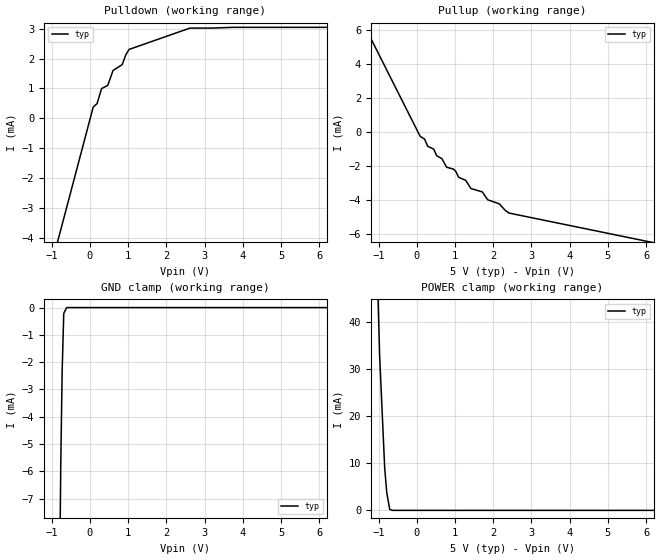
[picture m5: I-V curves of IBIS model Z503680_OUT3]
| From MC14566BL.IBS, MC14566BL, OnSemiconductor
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| (C) COPYRIGHT 1993-2000
| MENTOR GRAPHICS CORPORATION
| ICX STANDARD LIBRARY, ICX PROJECT MODELING,
| ICX CUSTOM MODELING, ICX VENDOR MODEL
| ALL RIGHTS RESERVED.
| THE FOLLOWING ARE TRADEMARKS OR SERVICE MARKS OF
| MENTOR GRAPHICS CORPORATION:ICX (R), ICX STANDARD
| LIBRARY(R), ICX PROJECT MODELING(R), ICX CUSTOM
| MODELING(R), qualityIBIS(TM), MODELVIEWER(TM),
| AND MODELEDITOR(TM)
| ALL COPIES OF SOFTWARE, INCLUDING BUT NOT LIMITED TO
| ANY MODIFICATIONS, ENHANCEMENTS OR DERIVATIVE WORKS,
| MUST CONTAIN ALL MENTOR GRAPHICS CORPORATION'S
| NOTICES AND LEGENDS, INCLUDING THOSE EMBEDDED IN
| SOFTWARE AND THOSE AFFIXED TO SOFTWARE MEDIUM
| AND CONTAINER, AS RECEIVED FROM MENTOR GRAPHICS
| CORPORATION.
| Model Application Version 1.89 2/18/99.
[Model] Z503680_OUT3
Model_type Output
Vref=0.000V
Rref=500.0Mohms
Cref=50.00pF
Vmeas=2.500V
C_comp 8.000pF NA NA
| variable typ   min   max
[Voltage Range] 5.000V NA NA
[POWER Clamp Reference] 5.000V NA NA
[Pullup Reference] 5.000V NA NA
[Pulldown Reference] 0.000V NA NA
[GND Clamp Reference] 0.000V NA NA
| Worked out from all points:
|   slope of the pulldown table from 0 to 0.75 V, typ, clamps not added: 427 ohm
|   slope of the pullup table from 0 to 0.75 V, typ, clamps not added: 358 ohm
|   GND clamp passes 1 mA (typ) near -0.70 V on its own axis
|   POWER clamp passes 1 mA (typ) near -0.72 V on its own axis
[GND Clamp]
-5V       -727.4mA   NA         NA
-1.089V   -51.71mA   NA         NA
-761.7mV  -5.716mA   NA         NA
-725.4mV  -2.31mA    NA         NA
-683.6mV  -211.5uA   NA         NA
-607.6mV  0A         NA         NA
10V       0A         NA         NA
[Pulldown]
-5V       -24.17mA   NA         NA
87.05mV   381.1uA    NA         NA
188.3mV   495.9uA    NA         NA
305.1mV   995.2uA    NA         NA
466.8mV   1.103mA    NA         NA
605.8mV   1.602mA    NA         NA
844.7mV   1.796mA    NA         NA
941.5mV   2.128mA    NA         NA
1.025V    2.304mA    NA         NA
2.617V    3.016mA    NA         NA
3.755V    3.042mA    NA         NA
10V       3.042mA    NA         NA
[Pullup]
-5V       22.53mA    NA         NA
205mV     -414.3uA   NA         NA
286mV     -838uA     NA         NA
441mV     -1.001mA   NA         NA
781mV     -2.074mA   NA         NA
962mV     -2.186mA   NA         NA
1.417V    -3.33mA    NA         NA
1.715V    -3.53mA    NA         NA
1.855V    -3.994mA   NA         NA
2.158V    -4.233mA   NA         NA
2.416V    -4.779mA   NA         NA
10V       -8.283mA   NA         NA
[POWER Clamp]
-5V       1.235A     NA         NA
-973mV    33.16mA    NA         NA
-840mV    9.113mA    NA         NA
-786mV    3.848mA    NA         NA
-708mV    208.2uA    NA         NA
-629.3mV  0A         NA         NA
10V       0A         NA         NA
[Ramp]
| variable typ min max
dV/dt_r 2.578/14.66n NA NA
dV/dt_f 2.578/20.45n NA NA
R_load = 2.500kOhms
